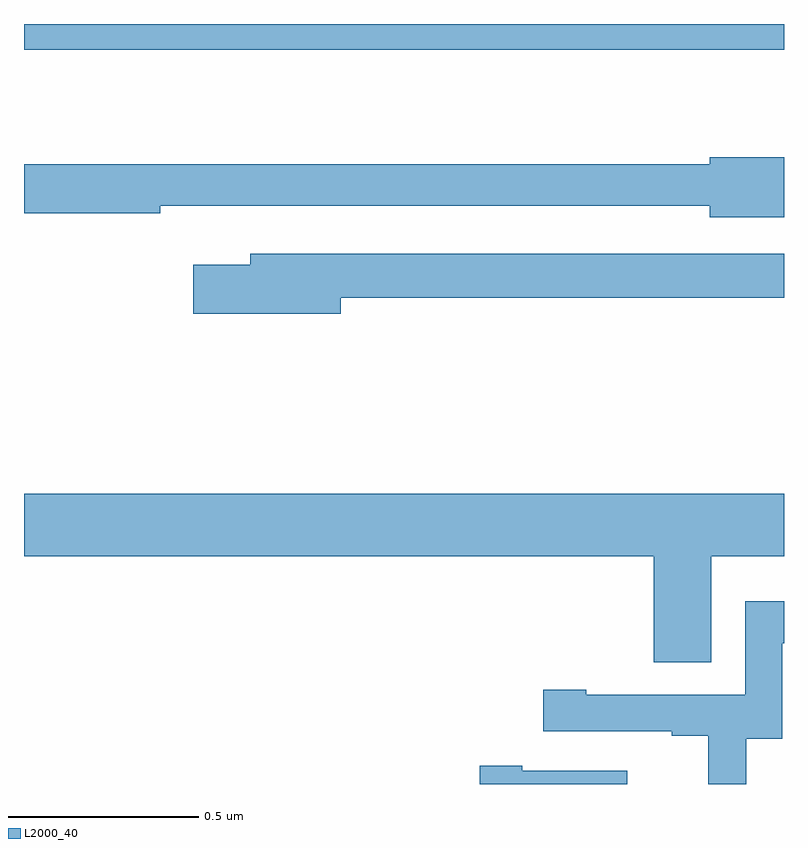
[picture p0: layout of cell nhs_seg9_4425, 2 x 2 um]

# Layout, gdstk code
import gdstk
lib = gdstk.Library(unit=1e-6, precision=1e-09)
def R(c, l, rs):  # rectangles x0, y0, x1, y1
    for r in rs: c.add(gdstk.rectangle(r[:2], r[2:], *l))
def P(c, l, *ps):  # polygons
    for p in ps: c.add(gdstk.Polygon(p, *l))
L2000_40 = (2000, 40)

nhs_seg9_4425 = lib.new_cell('nhs_seg9_4425')
R(nhs_seg9_4425, L2000_40, [(166,1184.432,168,1184.5)])
P(nhs_seg9_4425, L2000_40, [(168,1184.149),(167.804,1184.149),(167.804,1184.131),(166,1184.131),(166,1184.002),(166.358,1184.002),(166.358,1184.022),(167.804,1184.022),(167.804,1183.991),(168,1183.991)],
  [(166.834,1183.78),(168,1183.78),(168,1183.896),(166.595,1183.896),(166.595,1183.867),(166.446,1183.867),(166.446,1183.738),(166.834,1183.738)],
  [(167.809,1183.1),(168,1183.1),(168,1183.264),(166,1183.264),(166,1183.1),(167.657,1183.1),(167.657,1182.82),(167.809,1182.82)],
  [(167.901,1182.619),(167.995,1182.619),(167.995,1182.87),(168,1182.87),(168,1182.981),(167.898,1182.981),(167.898,1182.735),(167.479,1182.735),(167.479,1182.748),(167.367,1182.748),(167.367,1182.639),(167.705,1182.639),(167.705,1182.627),(167.801,1182.627),(167.801,1182.5),(167.901,1182.5)],
  [(167.587,1182.535),(167.311,1182.535),(167.311,1182.548),(167.199,1182.548),(167.199,1182.5),(167.587,1182.5)])

lib.write_gds('nhs_seg9_4425.gds')
